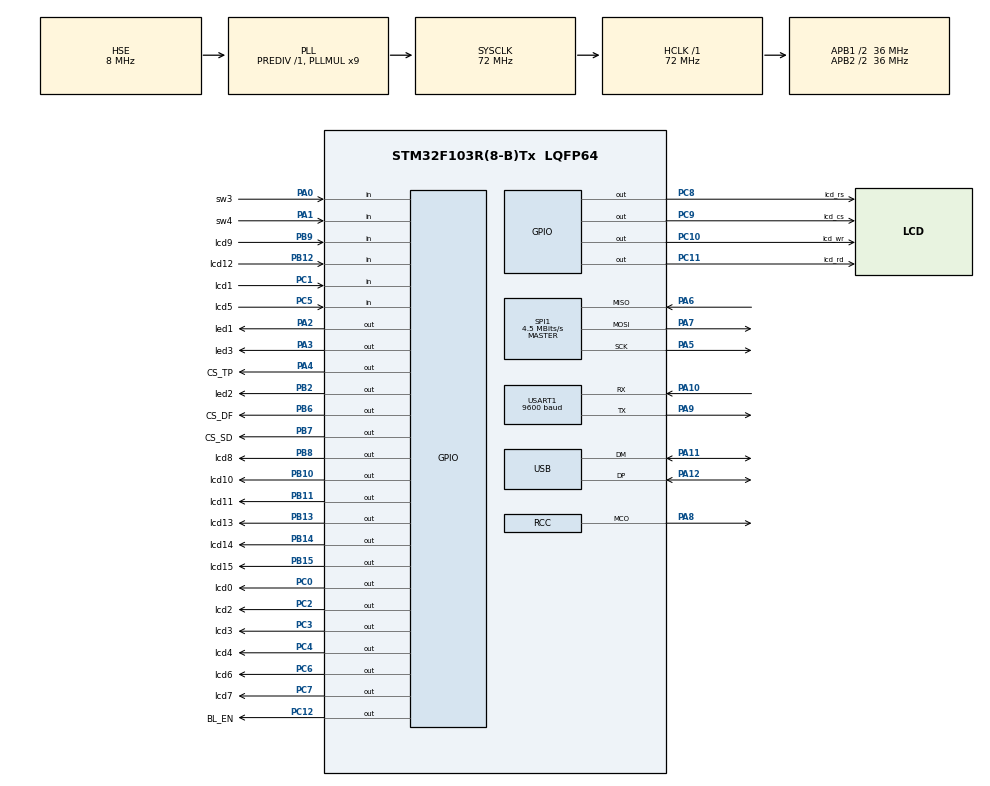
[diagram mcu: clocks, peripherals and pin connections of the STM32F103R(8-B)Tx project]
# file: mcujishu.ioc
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ADC1.Channel-8\#ChannelRegularConversion=ADC_CHANNEL_TEMPSENSOR
ADC1.NbrOfConversionFlag=1
ADC1.Rank-8\#ChannelRegularConversion=1
ADC1.SamplingTime-8\#ChannelRegularConversion=ADC_SAMPLETIME_1CYCLE_5
ADC1.master=1
FREERTOS.Tasks01=defaultTask,0,128,StartDefaultTask,Default,NULL
Mcu.Family=STM32F1
Mcu.Name=STM32F103R(8-B)Tx
Mcu.Package=LQFP64
NVIC.PriorityGroup=NVIC_PRIORITYGROUP_4
NVIC.TIM4_IRQn=true\:0\:0\:false\:false\:true\:false\:false
NVIC.TimeBase=TIM4_IRQn
NVIC.TimeBaseIP=TIM4
NVIC.USB_LP_CAN1_RX0_IRQn=true\:5\:0\:false\:false\:true\:true\:false
PA0-WKUP.GPIO_Label=sw3
PA0-WKUP.Signal=GPIO_Input
PA1.GPIO_Label=sw4
PA1.Signal=GPIO_Input
PA10.Mode=Asynchronous
PA10.Signal=USART1_RX
PA11.Mode=Device
PA11.Signal=USB_DM
PA12.Mode=Device
PA12.Signal=USB_DP
PA13.Mode=JTAG_5_pins
PA13.Signal=SYS_JTMS-SWDIO
PA14.Mode=JTAG_5_pins
PA14.Signal=SYS_JTCK-SWCLK
PA15.Mode=JTAG_5_pins
PA15.Signal=SYS_JTDI
PA2.GPIO_Label=led1
PA2.Signal=GPIO_Output
PA3.GPIO_Label=led3
PA3.Signal=GPIO_Output
PA4.GPIO_Label=CS_TP
PA4.Signal=GPIO_Output
PA5.Mode=Full_Duplex_Master
PA5.Signal=SPI1_SCK
PA6.Mode=Full_Duplex_Master
PA6.Signal=SPI1_MISO
PA7.Mode=Full_Duplex_Master
PA7.Signal=SPI1_MOSI
PA8.Mode=Clock-out
PA8.Signal=RCC_MCO
PA9.Mode=Asynchronous
PA9.Signal=USART1_TX
PB10.GPIO_Label=lcd10
PB10.Signal=GPIO_Output
PB11.GPIO_Label=lcd11
PB11.Signal=GPIO_Output
PB12.GPIO_Label=lcd12
PB12.Signal=GPIO_Input
PB13.GPIO_Label=lcd13
PB13.Signal=GPIO_Output
PB14.GPIO_Label=lcd14
PB14.Signal=GPIO_Output
PB15.GPIO_Label=lcd15
PB15.Signal=GPIO_Output
PB2.GPIO_Label=led2
PB2.Signal=GPIO_Output
PB3.Mode=JTAG_5_pins
PB3.Signal=SYS_JTDO-TRACESWO
PB4.Mode=JTAG_5_pins
PB4.Signal=SYS_NJTRST
PB6.GPIO_Label=CS_DF
PB6.Signal=GPIO_Output
PB7.GPIO_Label=CS_SD
PB7.Signal=GPIO_Output
PB8.GPIO_Label=lcd8
PB8.Signal=GPIO_Output
PB9.GPIO_Label=lcd9
PB9.Signal=GPIO_Input
PC0.GPIO_Label=lcd0
PC0.Signal=GPIO_Output
PC1.GPIO_Label=lcd1
PC1.Signal=GPIO_Input
PC10.GPIO_Label=lcd_wr
PC10.Signal=GPIO_Output
PC11.GPIO_Label=lcd_rd
PC11.Signal=GPIO_Output
PC12.GPIO_Label=BL_EN
PC12.Signal=GPIO_Output
PC14-OSC32_IN.Mode=LSE-External-Oscillator
PC14-OSC32_IN.Signal=RCC_OSC32_IN
PC15-OSC32_OUT.Mode=LSE-External-Oscillator
PC15-OSC32_OUT.Signal=RCC_OSC32_OUT
PC2.GPIO_Label=lcd2
PC2.Signal=GPIO_Output
PC3.GPIO_Label=lcd3
PC3.Signal=GPIO_Output
PC4.GPIO_Label=lcd4
PC4.Signal=GPIO_Output
PC5.GPIO_Label=lcd5
PC5.Signal=GPIO_Input
PC6.GPIO_Label=lcd6
PC6.Signal=GPIO_Output
PC7.GPIO_Label=lcd7
PC7.Signal=GPIO_Output
PC8.GPIO_Label=lcd_rs
PC8.Signal=GPIO_Output
PC9.GPIO_Label=lcd_cs
PC9.Signal=GPIO_Output
PD0-OSC_IN.Mode=HSE-External-Oscillator
PD0-OSC_IN.Signal=RCC_OSC_IN
PD1-OSC_OUT.Mode=HSE-External-Oscillator
PD1-OSC_OUT.Signal=RCC_OSC_OUT
ProjectManager.HeapSize=0x200
ProjectManager.StackSize=0x400
ProjectManager.TargetToolchain=SW4STM32
RCC.ADCPresc=RCC_ADCPCLK2_DIV6
RCC.AHBFreq_Value=72000000
RCC.APB1CLKDivider=RCC_HCLK_DIV2
RCC.APB1Freq_Value=36000000
RCC.APB1TimFreq_Value=72000000
RCC.APB2CLKDivider=RCC_HCLK_DIV2
RCC.APB2Freq_Value=36000000
RCC.APB2TimFreq_Value=72000000
RCC.HCLKFreq_Value=72000000
RCC.PLLMUL=RCC_PLL_MUL9
RCC.RCC_MCOSource=RCC_MCO1SOURCE_PLLCLK
RCC.RTCClockSelection=RCC_RTCCLKSOURCE_LSE
RCC.SYSCLKFreq_VALUE=72000000
RCC.SYSCLKSource=RCC_SYSCLKSOURCE_PLLCLK
RCC.USBFreq_Value=48000000
RCC.USBPrescaler=RCC_USBCLKSOURCE_PLL_DIV1_5
SPI1.BaudRatePrescaler=SPI_BAUDRATEPRESCALER_8
SPI1.CalculateBaudRate=4.5 MBits/s
SPI1.Direction=SPI_DIRECTION_2LINES
SPI1.Mode=SPI_MODE_MASTER
SPI1.VirtualType=VM_MASTER
USART1.BaudRate=9600
USART1.VirtualMode=VM_ASYNC
USB_DEVICE.CLASS_NAME_FS=CDC
USB_DEVICE.VirtualMode=Cdc
USB_DEVICE.VirtualModeFS=Cdc_FS
VP_ADC1_TempSens_Input.Mode=IN-TempSens
VP_ADC1_Vref_Input.Mode=IN-Vrefint
VP_FREERTOS_VS_ENABLE.Mode=Enabled
VP_IWDG_VS_IWDG.Mode=IWDG_Activate
VP_SYS_VS_tim4.Mode=TIM4
VP_USB_DEVICE_VS_USB_DEVICE_CDC_FS.Mode=CDC_FS
board=mcujishu

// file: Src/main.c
/**
  ******************************************************************************
  * @file           : main.c
  * @brief          : Main program body
  ******************************************************************************
  * This notice applies to any and all portions of this file
  * that are not between comment pairs USER CODE BEGIN and
  * USER CODE END. Other portions of this file, whether
  * inserted by the user or by software development tools
  * are owned by their respective copyright owners.
  *
  * Copyright (c) 2018 STMicroelectronics International N.V.
  * All rights reserved.
  *
  * Redistribution and use in source and binary forms, with or without
  * modification, are permitted, provided that the following conditions are met:
  *
  * 1. Redistribution of source code must retain the above copyright notice,
  *    this list of conditions and the following disclaimer.
  * 2. Redistributions in binary form must reproduce the above copyright notice,
  *    this list of conditions and the following disclaimer in the documentation
  *    and/or other materials provided with the distribution.
  * 3. Neither the name of STMicroelectronics nor the names of other
  *    contributors to this software may be used to endorse or promote products
  *    derived from this software without specific written permission.
  * 4. This software, including modifications and/or derivative works of this
  *    software, must execute solely and exclusively on microcontroller or
  *    microprocessor devices manufactured by or for STMicroelectronics.
  * 5. Redistribution and use of this software other than as permitted under
  *    this license is void and will automatically terminate your rights under
  *    this license.
  *
  * THIS SOFTWARE IS PROVIDED BY STMICROELECTRONICS AND CONTRIBUTORS "AS IS"
  * AND ANY EXPRESS, IMPLIED OR STATUTORY WARRANTIES, INCLUDING, BUT NOT
  * LIMITED TO, THE IMPLIED WARRANTIES OF MERCHANTABILITY, FITNESS FOR A
  * PARTICULAR PURPOSE AND NON-INFRINGEMENT OF THIRD PARTY INTELLECTUAL PROPERTY
  * RIGHTS ARE DISCLAIMED TO THE FULLEST EXTENT PERMITTED BY LAW. IN NO EVENT
  * SHALL STMICROELECTRONICS OR CONTRIBUTORS BE LIABLE FOR ANY DIRECT, INDIRECT,
  * INCIDENTAL, SPECIAL, EXEMPLARY, OR CONSEQUENTIAL DAMAGES (INCLUDING, BUT NOT
  * LIMITED TO, PROCUREMENT OF SUBSTITUTE GOODS OR SERVICES; LOSS OF USE, DATA,
  * OR PROFITS; OR BUSINESS INTERRUPTION) HOWEVER CAUSED AND ON ANY THEORY OF
  * LIABILITY, WHETHER IN CONTRACT, STRICT LIABILITY, OR TORT (INCLUDING
  * NEGLIGENCE OR OTHERWISE) ARISING IN ANY WAY OUT OF THE USE OF THIS SOFTWARE,
  * EVEN IF ADVISED OF THE POSSIBILITY OF SUCH DAMAGE.
  *
  ******************************************************************************
  */
#include "main.h"
#include "stm32f1xx_hal.h"
#include "cmsis_os.h"
#include "adc.h"
#include "iwdg.h"
#include "spi.h"
#include "usart.h"
#include "usb_device.h"
#include "gpio.h"

/* USER CODE BEGIN Includes */
#include <errno.h>

/* USER CODE END Includes */

/* USER CODE BEGIN PV */
/* Private variables ---------------------------------------------------------*/

/* USER CODE END PV */

void SystemClock_Config(void);
void MX_FREERTOS_Init(void);

/* USER CODE BEGIN PFP */
//static void StartBlinkTask(void const * argument);
/* Private function prototypes -----------------------------------------------*/

/* USER CODE END PFP */

int main(void)
{

  /* MCU Configuration----------------------------------------------------------*/

  /* Reset of all peripherals, Initializes the Flash interface and the Systick. */
  HAL_Init();

  /* Configure the system clock */
  SystemClock_Config();

  /* Initialize all configured peripherals */
  MX_GPIO_Init();
  MX_IWDG_Init();
  MX_USART1_UART_Init();
  MX_SPI1_Init();
  MX_ADC1_Init();

  /* Call init function for freertos objects (in freertos.c) */
  MX_FREERTOS_Init();

  /* Start scheduler */
  osKernelStart();

  /* We should never get here as control is now taken by the scheduler */

  /* Infinite loop */
  while (1)
  {

  }

}

void SystemClock_Config(void)
{

  RCC_OscInitTypeDef RCC_OscInitStruct;
  RCC_ClkInitTypeDef RCC_ClkInitStruct;
  RCC_PeriphCLKInitTypeDef PeriphClkInit;

    /**Initializes the CPU, AHB and APB busses clocks
    */
  RCC_OscInitStruct.OscillatorType = RCC_OSCILLATORTYPE_LSI|RCC_OSCILLATORTYPE_HSE;
  RCC_OscInitStruct.HSEState = RCC_HSE_ON;
  RCC_OscInitStruct.HSEPredivValue = RCC_HSE_PREDIV_DIV1;
  RCC_OscInitStruct.HSIState = RCC_HSI_ON;
  RCC_OscInitStruct.LSIState = RCC_LSI_ON;
  RCC_OscInitStruct.PLL.PLLState = RCC_PLL_ON;
  RCC_OscInitStruct.PLL.PLLSource = RCC_PLLSOURCE_HSE;
  RCC_OscInitStruct.PLL.PLLMUL = RCC_PLL_MUL9;
  if (HAL_RCC_OscConfig(&RCC_OscInitStruct) != HAL_OK)
  {
    _Error_Handler(__FILE__, __LINE__);
  }

    /**Initializes the CPU, AHB and APB busses clocks
    */
  RCC_ClkInitStruct.ClockType = RCC_CLOCKTYPE_HCLK|RCC_CLOCKTYPE_SYSCLK
                              |RCC_CLOCKTYPE_PCLK1|RCC_CLOCKTYPE_PCLK2;
  RCC_ClkInitStruct.SYSCLKSource = RCC_SYSCLKSOURCE_PLLCLK;
  RCC_ClkInitStruct.AHBCLKDivider = RCC_SYSCLK_DIV1;
  RCC_ClkInitStruct.APB1CLKDivider = RCC_HCLK_DIV2;
  RCC_ClkInitStruct.APB2CLKDivider = RCC_HCLK_DIV2;

  if (HAL_RCC_ClockConfig(&RCC_ClkInitStruct, FLASH_LATENCY_2) != HAL_OK)
  {
    _Error_Handler(__FILE__, __LINE__);
  }

  PeriphClkInit.PeriphClockSelection = RCC_PERIPHCLK_ADC|RCC_PERIPHCLK_USB;
  PeriphClkInit.AdcClockSelection = RCC_ADCPCLK2_DIV6;
  PeriphClkInit.UsbClockSelection = RCC_USBCLKSOURCE_PLL_DIV1_5;
  if (HAL_RCCEx_PeriphCLKConfig(&PeriphClkInit) != HAL_OK)
  {
    _Error_Handler(__FILE__, __LINE__);
  }

  HAL_RCC_MCOConfig(RCC_MCO, RCC_MCO1SOURCE_PLLCLK, RCC_MCODIV_1);

    /**Configure the Systick interrupt time
    */
  HAL_SYSTICK_Config(HAL_RCC_GetHCLKFreq()/1000);

    /**Configure the Systick
    */
  HAL_SYSTICK_CLKSourceConfig(SYSTICK_CLKSOURCE_HCLK);

  /* SysTick_IRQn interrupt configuration */
  HAL_NVIC_SetPriority(SysTick_IRQn, 15, 0);
}

/* USER CODE BEGIN 4 */
#if 0
void StartBlinkTask(void const * argument){
	(void) argument;
	for(;;){
		//printf("how much is possible to transmit over the usart?");
		//putchar('.');
		//char * my_string =  "hello";
		//uint32_t timeout = 1;
		//HAL_UART_Transmit(&huart1, (uint8_t *)my_string, (uint16_t) strlen(my_string),timeout );
		osDelay(200);
	    HAL_GPIO_TogglePin(led4_GPIO_Port, led4_Pin);
	}
}
#endif
/* USER CODE END 4 */

void HAL_TIM_PeriodElapsedCallback(TIM_HandleTypeDef *htim)
{
  if (htim->Instance == TIM4) {
    HAL_IncTick();
  }
}

void _Error_Handler(char *file, int line)
{
  /* USER CODE BEGIN Error_Handler_Debug */
  printf("error at %s[%d]",file,line);
  /* User can add his own implementation to report the HAL error return state */
  while(1)
  {
  }
  /* USER CODE END Error_Handler_Debug */
}

/************************ (C) COPYRIGHT STMicroelectronics *****END OF FILE****/

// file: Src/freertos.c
/**
  ******************************************************************************
  * File Name          : freertos.c
  * Description        : Code for freertos applications
  ******************************************************************************
  * This notice applies to any and all portions of this file
  * that are not between comment pairs USER CODE BEGIN and
  * USER CODE END. Other portions of this file, whether
  * inserted by the user or by software development tools
  * are owned by their respective copyright owners.
  *
  * Copyright (c) 2018 STMicroelectronics International N.V.
  * All rights reserved.
  *
  * Redistribution and use in source and binary forms, with or without
  * modification, are permitted, provided that the following conditions are met:
  *
  * 1. Redistribution of source code must retain the above copyright notice,
  *    this list of conditions and the following disclaimer.
  * 2. Redistributions in binary form must reproduce the above copyright notice,
  *    this list of conditions and the following disclaimer in the documentation
  *    and/or other materials provided with the distribution.
  * 3. Neither the name of STMicroelectronics nor the names of other
  *    contributors to this software may be used to endorse or promote products
  *    derived from this software without specific written permission.
  * 4. This software, including modifications and/or derivative works of this
  *    software, must execute solely and exclusively on microcontroller or
  *    microprocessor devices manufactured by or for STMicroelectronics.
  * 5. Redistribution and use of this software other than as permitted under
  *    this license is void and will automatically terminate your rights under
  *    this license.
  *
  * THIS SOFTWARE IS PROVIDED BY STMICROELECTRONICS AND CONTRIBUTORS "AS IS"
  * AND ANY EXPRESS, IMPLIED OR STATUTORY WARRANTIES, INCLUDING, BUT NOT
  * LIMITED TO, THE IMPLIED WARRANTIES OF MERCHANTABILITY, FITNESS FOR A
  * PARTICULAR PURPOSE AND NON-INFRINGEMENT OF THIRD PARTY INTELLECTUAL PROPERTY
  * RIGHTS ARE DISCLAIMED TO THE FULLEST EXTENT PERMITTED BY LAW. IN NO EVENT
  * SHALL STMICROELECTRONICS OR CONTRIBUTORS BE LIABLE FOR ANY DIRECT, INDIRECT,
  * INCIDENTAL, SPECIAL, EXEMPLARY, OR CONSEQUENTIAL DAMAGES (INCLUDING, BUT NOT
  * LIMITED TO, PROCUREMENT OF SUBSTITUTE GOODS OR SERVICES; LOSS OF USE, DATA,
  * OR PROFITS; OR BUSINESS INTERRUPTION) HOWEVER CAUSED AND ON ANY THEORY OF
  * LIABILITY, WHETHER IN CONTRACT, STRICT LIABILITY, OR TORT (INCLUDING
  * NEGLIGENCE OR OTHERWISE) ARISING IN ANY WAY OUT OF THE USE OF THIS SOFTWARE,
  * EVEN IF ADVISED OF THE POSSIBILITY OF SUCH DAMAGE.
  *
  ******************************************************************************
  */

#include "FreeRTOS.h"
#include "task.h"
#include "cmsis_os.h"

/* USER CODE BEGIN Includes */
#include "iwdg.h"
#include "gpio.h"
#include "usart.h"
#include "ili9320.h"
/* USER CODE END Includes */

osThreadId defaultTaskHandle;

void StartDefaultTask(void const * argument);

extern void MX_USB_DEVICE_Init(void);
void MX_FREERTOS_Init(void); /* (MISRA C 2004 rule 8.1) */

/* USER CODE BEGIN FunctionPrototypes */
void StartBlinkTask(void const * argument);
/* USER CODE END FunctionPrototypes */

/* Hook prototypes */

/* Init FreeRTOS */

void MX_FREERTOS_Init(void) {

  /* Create the thread(s) */
  /* definition and creation of defaultTask */
  osThreadDef(defaultTask, StartDefaultTask, osPriorityNormal, 0, 128);
  defaultTaskHandle = osThreadCreate(osThread(defaultTask), NULL);

  /* USER CODE BEGIN RTOS_THREADS */
	/* add threads, ... */
	osThreadDef(idleTask, StartBlinkTask, osPriorityIdle, 0, 128);
	(void) osThreadCreate(osThread(idleTask), NULL);
  /* USER CODE END RTOS_THREADS */

}

/* StartDefaultTask function */
void StartDefaultTask(void const * argument)
{
  /* init code for USB_DEVICE */
  MX_USB_DEVICE_Init();

  /* USER CODE BEGIN StartDefaultTask */

	// test to see if this lcd controler is a ili9341

	/* Infinite loop */
	for (;;)
	{
		HAL_IWDG_Refresh(&hiwdg);
		osDelay(1);
	}
  /* USER CODE END StartDefaultTask */
}

/* USER CODE BEGIN Application */
#if 0
static void lcd_write_pixel(uint8_t x, uint8_t y, uint16_t color)
{
	// basic lcd interface for exploritory testing.

}
#endif

//uint16_t lcd_read_16()

void setLeds(uint8_t bitfield)
{
	bitfield = 0 ? 1 : bitfield;
	HAL_GPIO_WritePin(led1_GPIO_Port, led1_Pin, !(bitfield & 1));
	HAL_GPIO_WritePin(led2_GPIO_Port, led2_Pin, !((bitfield >> 1) & 1));
	HAL_GPIO_WritePin(led3_GPIO_Port, led3_Pin, !((bitfield >> 2) & 1));
}
void updateLed()
{
	static uint8_t count = 0;
	static uint8_t last_grey = 0;
	uint8_t grey = (count ^ (count >> 1)) & 0x07;
	uint8_t ledState = grey ^ last_grey;
	setLeds(ledState);
	last_grey = grey;
	count++;

}
void StartBlinkTask(void const * argument)
{
	(void) argument;

	//enable blacklight
	//	puts("starting idle task.");
	//	HAL_UART_Transmit(&huart1, (uint8_t*) "heoo", len,10);
	uint8_t DeviceCode=0x001;

	putchar('\n');
	printf("c");
	printf("def code %u", DeviceCode);

	ili9320_BackLight(1);
	//HAL_GPIO_WritePin(BL_EN_GPIO_Port, BL_EN_Pin, GPIO_PIN_SET);
	Lcd_Configuration();
	ili9320_Initializtion();
	ili9320_Test();
	ili9320_Clear(100);
	u16 x0=10,y0=10,h=10,color=0x333;

	ili9320_VLine( x0, y0, h, color);
	ili9320_DrawPicture(1,1,2,2,(uint16_t[]){20,30,40,50});
	for (;;)
	{
		static uint16_t color=0;
		//printf("how much is possible to transmit over the usart?");
		//putchar('.');
		//char * my_string =  "hello";
		//uint32_t timeout = 1;
		//HAL_UART_Transmit(&huart1, (uint8_t *)my_string, (uint16_t) strlen(my_string),timeout );
		//osDelay(200);
		updateLed();
		//ili9320_SetPoint(color%320, (color/320)%240, color);
		ili9320_VLine( x0, y0, 100 , ili9320_BGR2RGB(color));
		//ili9320_Clear(color);

		osThreadYield();
		color++;
	}
}

/* USER CODE END Application */

/************************ (C) COPYRIGHT STMicroelectronics *****END OF FILE****/
